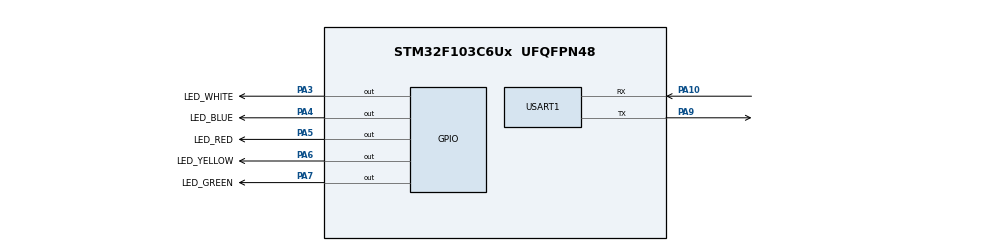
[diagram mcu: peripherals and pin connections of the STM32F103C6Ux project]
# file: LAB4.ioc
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Mcu.Family=STM32F1
Mcu.Name=STM32F103C6Ux
Mcu.Package=UFQFPN48
NVIC.PriorityGroup=NVIC_PRIORITYGROUP_4
NVIC.TIM2_IRQn=true\:0\:0\:false\:false\:true\:true\:true
PA10.Mode=Asynchronous
PA10.Signal=USART1_RX
PA3.GPIO_Label=LED_WHITE
PA3.Signal=GPIO_Output
PA4.GPIO_Label=LED_BLUE
PA4.Signal=GPIO_Output
PA5.GPIO_Label=LED_RED
PA5.Signal=GPIO_Output
PA6.GPIO_Label=LED_YELLOW
PA6.Signal=GPIO_Output
PA7.GPIO_Label=LED_GREEN
PA7.Signal=GPIO_Output
PA9.Mode=Asynchronous
PA9.Signal=USART1_TX
ProjectManager.HeapSize=0x200
ProjectManager.StackSize=0x400
ProjectManager.TargetToolchain=STM32CubeIDE
RCC.APB1Freq_Value=8000000
RCC.APB2Freq_Value=8000000
TIM2.Period=10
TIM2.Prescaler=7999
USART1.VirtualMode=VM_ASYNC
VP_SYS_VS_ND.Mode=No_Debug
VP_TIM2_VS_ClockSourceINT.Mode=Internal
board=custom

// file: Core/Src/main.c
/* USER CODE BEGIN Header */
/**
  ******************************************************************************
  * @file           : main.c
  * @brief          : Main program body
  ******************************************************************************
  * @attention
  *
  * <h2><center>&copy; Copyright (c) 2022 STMicroelectronics.
  * All rights reserved.</center></h2>
  *
  * This software component is licensed by ST under BSD 3-Clause license,
  * the "License"; You may not use this file except in compliance with the
  * License. You may obtain a copy of the License at:
  *                        opensource.org/licenses/BSD-3-Clause
  *
  ******************************************************************************
  */
/* USER CODE END Header */
#include "main.h"

/* USER CODE BEGIN Includes */
#include "SHC.h"
#include "toggleLED.h"
#include "stdio.h"
#include "string.h"
/* USER CODE END Includes */

TIM_HandleTypeDef htim2;

UART_HandleTypeDef huart1;

void SystemClock_Config(void);
static void MX_GPIO_Init(void);
static void MX_TIM2_Init(void);
static void MX_USART1_UART_Init(void);

int main(void)
{

  /* MCU Configuration--------------------------------------------------------*/

  /* Reset of all peripherals, Initializes the Flash interface and the Systick. */
  HAL_Init();

  /* Configure the system clock */
  SystemClock_Config();

  /* Initialize all configured peripherals */
  MX_GPIO_Init();
  MX_TIM2_Init();
  MX_USART1_UART_Init();
  /* USER CODE BEGIN 2 */
  HAL_TIM_Base_Start_IT(&htim2);

  SCH_Add_Task(led1test, 0, 50);
  SCH_Add_Task(led2test, 0, 100);
  SCH_Add_Task(led3test, 0, 150);
  SCH_Add_Task(led4test, 0, 200);
  SCH_Add_Task(led5test, 0, 250);
  /* USER CODE END 2 */

  /* Infinite loop */
  /* USER CODE BEGIN WHILE */
  while (1)
  {

	  SCH_Dispatch_Tasks () ;
	  if(flag != 0){
		  HAL_UART_Transmit(&huart1, (uint8_t*)str,strlen(str), 100);
		  flag = 0;
	  }
    /* USER CODE END WHILE */

  }
}

void SystemClock_Config(void)
{
  RCC_OscInitTypeDef RCC_OscInitStruct = {0};
  RCC_ClkInitTypeDef RCC_ClkInitStruct = {0};

  /** Initializes the RCC Oscillators according to the specified parameters
  * in the RCC_OscInitTypeDef structure.
  */
  RCC_OscInitStruct.OscillatorType = RCC_OSCILLATORTYPE_HSI;
  RCC_OscInitStruct.HSIState = RCC_HSI_ON;
  RCC_OscInitStruct.HSICalibrationValue = RCC_HSICALIBRATION_DEFAULT;
  RCC_OscInitStruct.PLL.PLLState = RCC_PLL_NONE;
  if (HAL_RCC_OscConfig(&RCC_OscInitStruct) != HAL_OK)
  {
    Error_Handler();
  }
  /** Initializes the CPU, AHB and APB buses clocks
  */
  RCC_ClkInitStruct.ClockType = RCC_CLOCKTYPE_HCLK|RCC_CLOCKTYPE_SYSCLK
                              |RCC_CLOCKTYPE_PCLK1|RCC_CLOCKTYPE_PCLK2;
  RCC_ClkInitStruct.SYSCLKSource = RCC_SYSCLKSOURCE_HSI;
  RCC_ClkInitStruct.AHBCLKDivider = RCC_SYSCLK_DIV1;
  RCC_ClkInitStruct.APB1CLKDivider = RCC_HCLK_DIV1;
  RCC_ClkInitStruct.APB2CLKDivider = RCC_HCLK_DIV1;

  if (HAL_RCC_ClockConfig(&RCC_ClkInitStruct, FLASH_LATENCY_0) != HAL_OK)
  {
    Error_Handler();
  }
}

static void MX_TIM2_Init(void)
{

  TIM_ClockConfigTypeDef sClockSourceConfig = {0};
  TIM_MasterConfigTypeDef sMasterConfig = {0};

  htim2.Instance = TIM2;
  htim2.Init.Prescaler = 7999;
  htim2.Init.CounterMode = TIM_COUNTERMODE_UP;
  htim2.Init.Period = 10;
  htim2.Init.ClockDivision = TIM_CLOCKDIVISION_DIV1;
  htim2.Init.AutoReloadPreload = TIM_AUTORELOAD_PRELOAD_DISABLE;
  if (HAL_TIM_Base_Init(&htim2) != HAL_OK)
  {
    Error_Handler();
  }
  sClockSourceConfig.ClockSource = TIM_CLOCKSOURCE_INTERNAL;
  if (HAL_TIM_ConfigClockSource(&htim2, &sClockSourceConfig) != HAL_OK)
  {
    Error_Handler();
  }
  sMasterConfig.MasterOutputTrigger = TIM_TRGO_RESET;
  sMasterConfig.MasterSlaveMode = TIM_MASTERSLAVEMODE_DISABLE;
  if (HAL_TIMEx_MasterConfigSynchronization(&htim2, &sMasterConfig) != HAL_OK)
  {
    Error_Handler();
  }

}

static void MX_USART1_UART_Init(void)
{

  huart1.Instance = USART1;
  huart1.Init.BaudRate = 115200;
  huart1.Init.WordLength = UART_WORDLENGTH_8B;
  huart1.Init.StopBits = UART_STOPBITS_1;
  huart1.Init.Parity = UART_PARITY_NONE;
  huart1.Init.Mode = UART_MODE_TX_RX;
  huart1.Init.HwFlowCtl = UART_HWCONTROL_NONE;
  huart1.Init.OverSampling = UART_OVERSAMPLING_16;
  if (HAL_UART_Init(&huart1) != HAL_OK)
  {
    Error_Handler();
  }

}

static void MX_GPIO_Init(void)
{
  GPIO_InitTypeDef GPIO_InitStruct = {0};

  /* GPIO Ports Clock Enable */
  __HAL_RCC_GPIOA_CLK_ENABLE();

  /*Configure GPIO pin Output Level */
  HAL_GPIO_WritePin(GPIOA, LED_WHITE_Pin|LED_BLUE_Pin|LED_RED_Pin|LED_YELLOW_Pin
                          |LED_GREEN_Pin, GPIO_PIN_RESET);

  /*Configure GPIO pins : LED_WHITE_Pin LED_BLUE_Pin LED_RED_Pin LED_YELLOW_Pin
                           LED_GREEN_Pin */
  GPIO_InitStruct.Pin = LED_WHITE_Pin|LED_BLUE_Pin|LED_RED_Pin|LED_YELLOW_Pin
                          |LED_GREEN_Pin;
  GPIO_InitStruct.Mode = GPIO_MODE_OUTPUT_PP;
  GPIO_InitStruct.Pull = GPIO_NOPULL;
  GPIO_InitStruct.Speed = GPIO_SPEED_FREQ_LOW;
  HAL_GPIO_Init(GPIOA, &GPIO_InitStruct);

}

/* USER CODE BEGIN 4 */
void HAL_TIM_PeriodElapsedCallback(TIM_HandleTypeDef *htim){
	SCH_Update ();
	/*char str[50];
	if(flag != 0){
		sprintf(str, "Task %d has Dispatch at Tick %ld ms \r\n",flag, HAL_GetTick());
		flag = 0;
	}
	else{
		sprintf(str, "None Task has Dispatch at Tick %ld ms \r\n", HAL_GetTick());
	}*/
	//HAL_UART_Transmit(&huart1, (uint8_t*)str,strlen(str), 100);
}
/* USER CODE END 4 */

void Error_Handler(void)
{
  __disable_irq();
  while (1)
  {
  }
}

/************************ (C) COPYRIGHT STMicroelectronics *****END OF FILE****/
